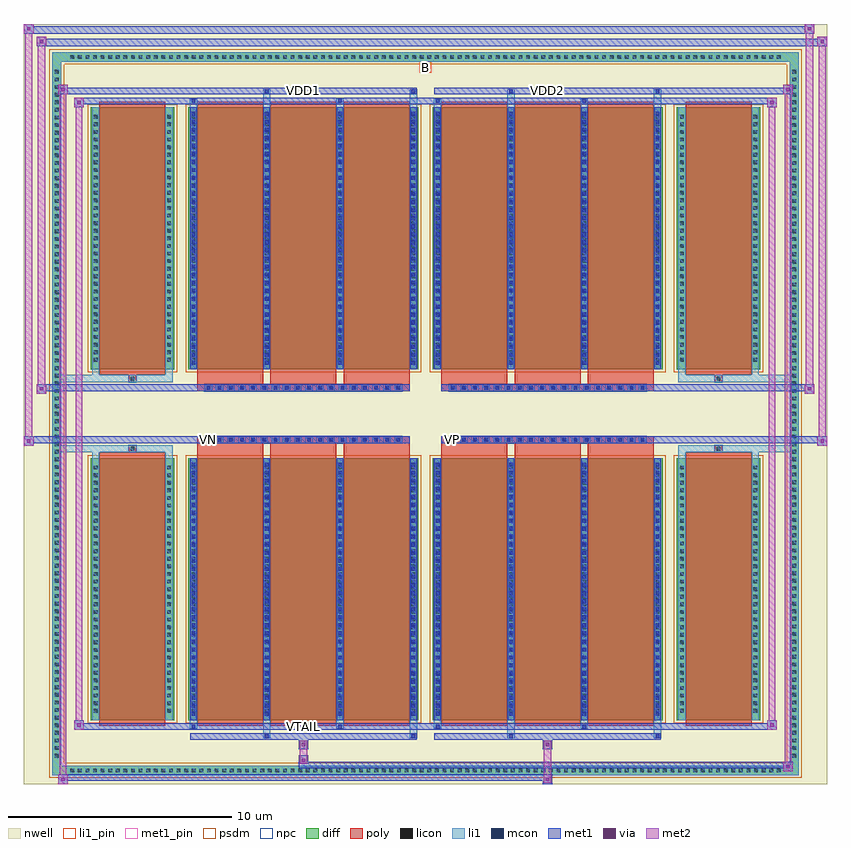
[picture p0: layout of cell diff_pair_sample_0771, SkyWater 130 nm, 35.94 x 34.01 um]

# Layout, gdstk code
import gdstk
lib = gdstk.Library(unit=1e-6, precision=5e-09)
def R(c, l, rs):  # rectangles x0, y0, x1, y1
    for r in rs: c.add(gdstk.rectangle(r[:2], r[2:], *l))
def A(c, l, x, y, w, h, nx, ny, dx, dy):  # array of equal rectangles
    R(c, l, [(x+i*dx, y+j*dy, x+i*dx+w, y+j*dy+h) for i in range(nx) for j in range(ny)])
def P(c, l, *ps):  # polygons
    for p in ps: c.add(gdstk.Polygon(p, *l))
nwell = (64, 20)
diff = (65, 20)
poly = (66, 20)
licon = (66, 44)
li1_pin = (67, 16)
li1 = (67, 20)
mcon = (67, 44)
met1_pin = (68, 16)
met1 = (68, 20)
via = (68, 44)
met2 = (69, 20)
psdm = (94, 20)
npc = (95, 20)

diff_pair_sample_0771 = lib.new_cell('diff_pair_sample_0771')
R(diff_pair_sample_0771, nwell, [(-17.97,-16.57,17.97,17.44), (-15.29,-14.76,-0.01,-0.8), (0.01,-14.76,15.29,-0.8), (-15.29,0.8,-0.01,14.76), (0.01,0.8,15.29,14.76)])
A(diff_pair_sample_0771, diff, -16.015, -16.17, 0.41, 0.41, 94, 2, 0.34, 31.93)
A(diff_pair_sample_0771, diff, -16.7, -15.505, 0.41, 0.41, 1, 91, 0, 0.34)
A(diff_pair_sample_0771, diff, 16.29, -15.505, 0.41, 0.41, 1, 91, 0, 0.34)
R(diff_pair_sample_0771, diff, [(-16.015,-16.17,16.015,-15.76), (-16.7,-15.505,-16.29,15.505), (16.29,-15.505,16.7,15.505), (-14.98,-13.715,-11.25,-1.985), (-10.61,-13.715,-0.32,-1.985), (0.32,-13.715,10.61,-1.985), (11.25,-13.715,14.98,-1.985), (-14.98,1.985,-11.25,13.715), (-10.61,1.985,-0.32,13.715), (0.32,1.985,10.61,13.715), (11.25,1.985,14.98,13.715), (-16.015,15.76,16.015,16.17)])
P(diff_pair_sample_0771, diff, [(16.7,16.17),(-16.7,16.17),(-16.7,-15.76),(-16.29,-15.76),(-16.29,15.76),(16.29,15.76),(16.29,-15.76),(-16.29,-15.76),(-16.7,-15.76),(-16.7,-16.17),(16.7,-16.17)])
A(diff_pair_sample_0771, poly, -10.22, -13.965, 2.95, 12.23, 3, 2, 3.28, 15.7)
A(diff_pair_sample_0771, poly, 0.71, -13.965, 2.95, 12.23, 3, 2, 3.28, 15.7)
A(diff_pair_sample_0771, poly, -10.22, -1.735, 2.95, 0.405, 3, 2, 3.28, 3.065)
A(diff_pair_sample_0771, poly, 0.71, -1.735, 2.95, 0.405, 3, 2, 3.28, 3.065)
A(diff_pair_sample_0771, poly, -9.88, -1.33, 0.33, 0.33, 18, 2, 0.5, 2.33)
A(diff_pair_sample_0771, poly, 1.05, -1.33, 0.33, 0.33, 18, 2, 0.5, 2.33)
R(diff_pair_sample_0771, poly, [(-14.59,-13.965,-11.64,-1.735), (11.64,-13.965,14.59,-1.735), (-13.28,-1.735,-12.95,-1.405), (-13.28,-1.735,-12.95,-1.405), (12.95,-1.735,13.28,-1.405), (12.95,-1.735,13.28,-1.405), (-10.22,-1.33,-0.71,-1), (0.71,-1.33,10.22,-1), (-10.22,1,-0.71,1.33), (0.71,1,10.22,1.33), (-13.28,1.405,-12.95,1.735), (-13.28,1.405,-12.95,1.735), (12.95,1.405,13.28,1.735), (12.95,1.405,13.28,1.735), (-14.59,1.735,-11.64,13.965), (11.64,1.735,14.59,13.965)])
A(diff_pair_sample_0771, licon, -15.895, -16.05, 0.17, 0.17, 94, 2, 0.34, 31.93)
A(diff_pair_sample_0771, licon, -16.58, -15.385, 0.17, 0.17, 1, 91, 0, 0.34)
A(diff_pair_sample_0771, licon, 16.41, -15.385, 0.17, 0.17, 1, 91, 0, 0.34)
A(diff_pair_sample_0771, licon, -14.84, -13.375, 0.17, 0.17, 1, 33, 0, 0.34)
A(diff_pair_sample_0771, licon, -11.56, -13.375, 0.17, 0.17, 1, 33, 0, 0.34)
A(diff_pair_sample_0771, licon, -10.47, -13.375, 0.17, 0.17, 4, 33, 3.28, 0.34)
A(diff_pair_sample_0771, licon, 0.46, -13.375, 0.17, 0.17, 4, 33, 3.28, 0.34)
A(diff_pair_sample_0771, licon, 11.39, -13.375, 0.17, 0.17, 1, 33, 0, 0.34)
A(diff_pair_sample_0771, licon, 14.67, -13.375, 0.17, 0.17, 1, 33, 0, 0.34)
A(diff_pair_sample_0771, licon, -9.8, -1.25, 0.17, 0.17, 18, 2, 0.5, 2.33)
A(diff_pair_sample_0771, licon, 1.13, -1.25, 0.17, 0.17, 18, 2, 0.5, 2.33)
A(diff_pair_sample_0771, licon, -14.84, 2.325, 0.17, 0.17, 1, 33, 0, 0.34)
A(diff_pair_sample_0771, licon, -11.56, 2.325, 0.17, 0.17, 1, 33, 0, 0.34)
A(diff_pair_sample_0771, licon, -10.47, 2.325, 0.17, 0.17, 4, 33, 3.28, 0.34)
A(diff_pair_sample_0771, licon, 0.46, 2.325, 0.17, 0.17, 4, 33, 3.28, 0.34)
A(diff_pair_sample_0771, licon, 11.39, 2.325, 0.17, 0.17, 1, 33, 0, 0.34)
A(diff_pair_sample_0771, licon, 14.67, 2.325, 0.17, 0.17, 1, 33, 0, 0.34)
R(diff_pair_sample_0771, licon, [(-13.2,-1.655,-13.03,-1.485), (13.03,-1.655,13.2,-1.485), (-13.2,1.485,-13.03,1.655), (13.03,1.485,13.2,1.655)])
R(diff_pair_sample_0771, li1_pin, [(-0.25,15.26,0.25,15.76)])
A(diff_pair_sample_0771, li1, -15.975, -16.13, 0.33, 0.33, 94, 2, 0.34, 31.93)
A(diff_pair_sample_0771, li1, -16.66, -15.465, 0.33, 0.33, 1, 91, 0, 0.34)
A(diff_pair_sample_0771, li1, 16.33, -15.465, 0.33, 0.33, 1, 91, 0, 0.34)
A(diff_pair_sample_0771, li1, -10.55, -13.715, 0.33, 11.73, 4, 2, 3.28, 15.7)
A(diff_pair_sample_0771, li1, 0.38, -13.715, 0.33, 11.73, 4, 2, 3.28, 15.7)
A(diff_pair_sample_0771, li1, -10.47, -13.515, 0.17, 0.17, 4, 32, 3.28, 0.36)
A(diff_pair_sample_0771, li1, -10.47, -13.515, 0.17, 11.33, 4, 2, 3.28, 15.7)
A(diff_pair_sample_0771, li1, 0.46, -13.515, 0.17, 0.17, 4, 32, 3.28, 0.36)
A(diff_pair_sample_0771, li1, 0.46, -13.515, 0.17, 11.33, 4, 2, 3.28, 15.7)
A(diff_pair_sample_0771, li1, -14.92, -13.455, 0.33, 0.33, 1, 33, 0, 0.34)
A(diff_pair_sample_0771, li1, -11.64, -13.455, 0.33, 0.33, 1, 33, 0, 0.34)
A(diff_pair_sample_0771, li1, -10.55, -13.455, 0.33, 0.33, 4, 33, 3.28, 0.34)
A(diff_pair_sample_0771, li1, 0.38, -13.455, 0.33, 0.33, 4, 33, 3.28, 0.34)
A(diff_pair_sample_0771, li1, 11.31, -13.455, 0.33, 0.33, 1, 33, 0, 0.34)
A(diff_pair_sample_0771, li1, 14.59, -13.455, 0.33, 0.33, 1, 33, 0, 0.34)
A(diff_pair_sample_0771, li1, -9.88, -1.33, 0.33, 0.33, 18, 2, 0.5, 2.33)
A(diff_pair_sample_0771, li1, 1.05, -1.33, 0.33, 0.33, 18, 2, 0.5, 2.33)
A(diff_pair_sample_0771, li1, -10.47, 2.185, 0.17, 0.17, 4, 32, 3.28, 0.36)
A(diff_pair_sample_0771, li1, 0.46, 2.185, 0.17, 0.17, 4, 32, 3.28, 0.36)
A(diff_pair_sample_0771, li1, -14.92, 2.245, 0.33, 0.33, 1, 33, 0, 0.34)
A(diff_pair_sample_0771, li1, -11.64, 2.245, 0.33, 0.33, 1, 33, 0, 0.34)
A(diff_pair_sample_0771, li1, -10.55, 2.245, 0.33, 0.33, 4, 33, 3.28, 0.34)
A(diff_pair_sample_0771, li1, 0.38, 2.245, 0.33, 0.33, 4, 33, 3.28, 0.34)
A(diff_pair_sample_0771, li1, 11.31, 2.245, 0.33, 0.33, 1, 33, 0, 0.34)
A(diff_pair_sample_0771, li1, 14.59, 2.245, 0.33, 0.33, 1, 33, 0, 0.34)
R(diff_pair_sample_0771, li1, [(-16.7,-16.17,-16.29,-15.76), (-16.7,-16.17,-16.29,-15.76), (-16.29,-16.17,16.29,-15.76), (16.29,-16.17,16.7,-15.76), (16.29,-16.17,16.7,-15.76), (-16.7,-15.76,-16.29,15.76), (16.29,-15.76,16.7,15.76), (-7.27,-14.52,-6.94,-13.715), (-7.19,-14.52,-7.02,-14.35), (-0.71,-14.52,-0.38,-13.715), (-0.63,-14.52,-0.46,-14.35), (3.66,-14.52,3.99,-13.715), (3.74,-14.52,3.91,-14.35), (10.22,-14.52,10.55,-13.715), (10.3,-14.52,10.47,-14.35), (-10.55,-14.09,-10.22,-13.715), (-10.47,-14.09,-10.3,-13.92), (-3.99,-14.09,-3.66,-13.715), (-3.91,-14.09,-3.74,-13.92), (0.38,-14.09,0.71,-13.715), (0.46,-14.09,0.63,-13.92), (6.94,-14.09,7.27,-13.715), (7.02,-14.09,7.19,-13.92), (-14.92,-13.715,-14.59,-1.985), (-11.64,-13.715,-11.31,-1.985), (11.31,-13.715,11.64,-1.985), (14.59,-13.715,14.92,-1.985), (-14.92,-1.985,-14.59,-1.405), (-11.64,-1.985,-11.31,-1.405), (11.31,-1.985,11.64,-1.405), (14.59,-1.985,14.92,-1.405), (-16.7,-1.735,-13.28,-1.405), (-14.92,-1.735,-13.28,-1.405), (-13.28,-1.735,-12.95,-1.405), (-12.95,-1.735,-11.31,-1.405), (11.31,-1.735,12.95,-1.405), (12.95,-1.735,13.28,-1.405), (12.95,-1.735,16.7,-1.405), (13.28,-1.735,14.92,-1.405), (-16.7,1.405,-13.28,1.735), (-14.92,1.405,-13.28,1.735), (-14.92,1.405,-14.59,1.985), (-13.28,1.405,-12.95,1.735), (-12.95,1.405,-11.31,1.735), (-11.64,1.405,-11.31,1.985), (11.31,1.405,12.95,1.735), (11.31,1.405,11.64,1.985), (12.95,1.405,13.28,1.735), (12.95,1.405,16.7,1.735), (13.28,1.405,14.92,1.735), (14.59,1.405,14.92,1.985), (-14.92,1.985,-14.59,13.715), (-11.64,1.985,-11.31,13.715), (11.31,1.985,11.64,13.715), (14.59,1.985,14.92,13.715), (-10.55,13.715,-10.22,14.09), (-7.27,13.715,-6.94,14.52), (-3.99,13.715,-3.66,14.09), (-0.71,13.715,-0.38,14.52), (0.38,13.715,0.71,14.09), (3.66,13.715,3.99,14.52), (6.94,13.715,7.27,14.09), (10.22,13.715,10.55,14.52), (-10.47,13.92,-10.3,14.09), (-3.91,13.92,-3.74,14.09), (0.46,13.92,0.63,14.09), (7.02,13.92,7.19,14.09), (-7.19,14.35,-7.02,14.52), (-0.63,14.35,-0.46,14.52), (3.74,14.35,3.91,14.52), (10.3,14.35,10.47,14.52), (-16.7,15.76,-16.29,16.17), (-16.7,15.76,-16.29,16.17), (-16.29,15.76,16.29,16.17), (16.29,15.76,16.7,16.17), (16.29,15.76,16.7,16.17)])
A(diff_pair_sample_0771, mcon, -10.47, -13.515, 0.17, 0.17, 4, 32, 3.28, 0.36)
A(diff_pair_sample_0771, mcon, 0.46, -13.515, 0.17, 0.17, 4, 32, 3.28, 0.36)
A(diff_pair_sample_0771, mcon, -9.8, -1.25, 0.17, 0.17, 18, 2, 0.5, 2.33)
A(diff_pair_sample_0771, mcon, 1.13, -1.25, 0.17, 0.17, 18, 2, 0.5, 2.33)
A(diff_pair_sample_0771, mcon, -10.47, 2.185, 0.17, 0.17, 4, 32, 3.28, 0.36)
A(diff_pair_sample_0771, mcon, 0.46, 2.185, 0.17, 0.17, 4, 32, 3.28, 0.36)
R(diff_pair_sample_0771, mcon, [(-7.19,-14.52,-7.02,-14.35), (-0.63,-14.52,-0.46,-14.35), (3.74,-14.52,3.91,-14.35), (10.3,-14.52,10.47,-14.35), (-10.47,-14.09,-10.3,-13.92), (-3.91,-14.09,-3.74,-13.92), (0.46,-14.09,0.63,-13.92), (7.02,-14.09,7.19,-13.92), (-10.47,13.92,-10.3,14.09), (-3.91,13.92,-3.74,14.09), (0.46,13.92,0.63,14.09), (7.02,13.92,7.19,14.09), (-7.19,14.35,-7.02,14.52), (-0.63,14.35,-0.46,14.52), (3.74,14.35,3.91,14.52), (10.3,14.35,10.47,14.52)])
R(diff_pair_sample_0771, met1_pin, [(-5.6,-14.13,-5.33,-13.86), (-9.85,-1.29,-9.58,-1.02), (1.08,-1.29,1.35,-1.02), (-5.6,14.31,-5.33,14.58), (5.33,14.31,5.6,14.58)])
A(diff_pair_sample_0771, met1, -10.53, -13.715, 0.29, 11.73, 4, 2, 3.28, 15.7)
A(diff_pair_sample_0771, met1, 0.4, -13.715, 0.29, 11.73, 4, 2, 3.28, 15.7)
A(diff_pair_sample_0771, met1, -10.53, -13.575, 0.29, 0.29, 4, 32, 3.28, 0.36)
A(diff_pair_sample_0771, met1, 0.4, -13.575, 0.29, 0.29, 4, 32, 3.28, 0.36)
A(diff_pair_sample_0771, met1, -9.86, -1.31, 0.29, 0.29, 18, 2, 0.5, 2.33)
A(diff_pair_sample_0771, met1, 1.07, -1.31, 0.29, 0.29, 18, 2, 0.5, 2.33)
A(diff_pair_sample_0771, met1, -10.53, 2.125, 0.29, 0.29, 4, 32, 3.28, 0.36)
A(diff_pair_sample_0771, met1, 0.4, 2.125, 0.29, 0.29, 4, 32, 3.28, 0.36)
R(diff_pair_sample_0771, met1, [(-16.43,-16.57,-16,-16.14), (5.25,-16.57,5.68,-16.14), (-16.43,-16.43,5.68,-16.14), (16,-16,16.43,-15.57), (-5.68,-15.86,16.43,-15.57), (-5.68,-15.72,-5.25,-15.29), (-5.68,-15.01,-5.25,-14.58), (5.25,-15.01,5.68,-14.58), (-10.53,-14.58,-0.4,-14.29), (-7.25,-14.58,-6.96,-14.29), (-0.69,-14.58,-0.4,-14.29), (0.4,-14.58,10.53,-14.29), (3.68,-14.58,3.97,-14.29), (10.24,-14.58,10.53,-14.29), (-15.72,-14.15,-15.29,-13.72), (-15.72,-14.15,-10.53,-13.86), (-10.53,-14.15,-10.24,-13.86), (-10.53,-14.15,-0.4,-13.86), (-3.97,-14.15,-3.68,-13.86), (-0.4,-14.15,0.4,-13.86), (0.4,-14.15,0.69,-13.86), (0.4,-14.15,10.53,-13.86), (6.96,-14.15,7.25,-13.86), (10.53,-14.15,15.72,-13.86), (15.29,-14.15,15.72,-13.72), (-17.97,-1.43,-17.54,-1), (17.54,-1.43,17.97,-1), (-17.97,-1.33,-0.71,-1), (-10.22,-1.33,-0.71,-1), (0.71,-1.33,10.22,-1), (0.71,-1.33,17.97,-1), (-17.4,0.9,-16.97,1.33), (16.97,0.9,17.4,1.33), (-17.4,1,-10.22,1.33), (-10.22,1,-0.71,1.33), (0.71,1,10.22,1.33), (10.22,1,17.4,1.33), (-15.72,13.72,-15.29,14.15), (15.29,13.72,15.72,14.15), (-15.72,13.86,-10.53,14.15), (-10.53,13.86,-10.24,14.15), (-10.53,13.86,-0.4,14.15), (-3.97,13.86,-3.68,14.15), (-0.4,13.86,0.4,14.15), (0.4,13.86,0.69,14.15), (0.4,13.86,10.53,14.15), (6.96,13.86,7.25,14.15), (10.53,13.86,15.72,14.15), (-16.43,14.29,-16,14.72), (-16.43,14.29,-10.53,14.58), (-10.53,14.29,-0.4,14.58), (-7.25,14.29,-6.96,14.58), (-0.69,14.29,-0.4,14.58), (0.4,14.29,10.53,14.58), (3.68,14.29,3.97,14.58), (10.24,14.29,10.53,14.58), (10.53,14.29,16.43,14.58), (16,14.29,16.43,14.72), (-17.4,16.44,-16.97,16.87), (-17.4,16.44,-15.29,16.77), (-15.29,16.44,15.29,16.77), (15.29,16.44,17.97,16.77), (17.54,16.44,17.97,16.87), (-17.97,17.01,-17.54,17.44), (-17.97,17.01,-15.29,17.34), (-15.29,17.01,15.29,17.34), (15.29,17.01,17.4,17.34), (16.97,17.01,17.4,17.44)])
R(diff_pair_sample_0771, via, [(-16.29,-16.43,-16.14,-16.28), (5.39,-16.43,5.54,-16.28), (16.14,-15.86,16.29,-15.71), (-5.54,-15.58,-5.39,-15.43), (-5.54,-14.87,-5.39,-14.72), (5.39,-14.87,5.54,-14.72), (-15.58,-14.01,-15.43,-13.86), (15.43,-14.01,15.58,-13.86), (-17.83,-1.29,-17.68,-1.14), (17.68,-1.29,17.83,-1.14), (-17.26,1.04,-17.11,1.19), (17.11,1.04,17.26,1.19), (-15.58,13.86,-15.43,14.01), (15.43,13.86,15.58,14.01), (-16.29,14.43,-16.14,14.58), (16.14,14.43,16.29,14.58), (-17.26,16.58,-17.11,16.73), (17.68,16.58,17.83,16.73), (-17.83,17.15,-17.68,17.3), (17.11,17.15,17.26,17.3)])
R(diff_pair_sample_0771, met2, [(-16.43,-16.57,-16,-16.14), (-16.36,-16.57,-16.07,14.72), (-16.07,-16.57,-16,-16.14), (-16.38,-16.52,-16.05,-16.19), (5.3,-16.52,5.63,-16.19), (5.3,-16.19,5.63,-14.96), (16,-16,16.43,-15.57), (16.07,-16,16.36,14.72), (16.36,-16,16.43,-15.57), (16.05,-15.95,16.38,-15.62), (-5.63,-15.67,-5.3,-15.34), (-5.63,-15.34,-5.3,-14.96), (-5.63,-14.96,-5.3,-14.63), (5.3,-14.96,5.63,-14.63), (-15.72,-14.15,-15.29,-13.72), (-15.65,-14.15,-15.36,14.15), (-15.36,-14.15,-15.29,-13.72), (15.29,-14.15,15.72,-13.72), (15.36,-14.15,15.65,14.15), (15.65,-14.15,15.72,-13.72), (-15.67,-14.1,-15.34,-13.77), (15.34,-14.1,15.67,-13.77), (-17.97,-1.43,-17.54,-1), (-17.92,-1.43,-17.59,17.44), (-17.59,-1.43,-17.54,-1), (17.54,-1.43,17.97,-1), (17.59,-1.43,17.92,16.87), (17.92,-1.43,17.97,-1), (-17.92,-1.38,-17.59,-1.05), (17.59,-1.38,17.92,-1.05), (-17.4,0.9,-16.97,1.33), (-17.35,0.9,-17.02,16.87), (-17.02,0.9,-16.97,1.33), (16.97,0.9,17.4,1.33), (17.02,0.9,17.35,17.44), (17.35,0.9,17.4,1.33), (-17.35,0.95,-17.02,1.28), (17.02,0.95,17.35,1.28), (-15.72,13.72,-15.29,14.15), (-15.36,13.72,-15.29,14.15), (15.29,13.72,15.72,14.15), (15.65,13.72,15.72,14.15), (-15.67,13.77,-15.34,14.1), (15.34,13.77,15.67,14.1), (-16.43,14.29,-16,14.72), (-16.07,14.29,-16,14.72), (16,14.29,16.43,14.72), (16.36,14.29,16.43,14.72), (-16.38,14.34,-16.05,14.67), (16.05,14.34,16.38,14.67), (-17.4,16.44,-16.97,16.87), (-17.02,16.44,-16.97,16.87), (17.54,16.44,17.97,16.87), (17.92,16.44,17.97,16.87), (-17.35,16.49,-17.02,16.82), (17.59,16.49,17.92,16.82), (-17.97,17.01,-17.54,17.44), (-17.59,17.01,-17.54,17.44), (16.97,17.01,17.4,17.44), (17.35,17.01,17.4,17.44), (-17.92,17.06,-17.59,17.39), (17.02,17.06,17.35,17.39)])
R(diff_pair_sample_0771, psdm, [(-15.11,-13.845,-11.12,-1.855), (-10.74,-13.845,-0.19,-1.855), (0.19,-13.845,10.74,-1.855), (11.12,-13.845,15.11,-1.855), (-15.11,1.855,-11.12,13.845), (-10.74,1.855,-0.19,13.845), (0.19,1.855,10.74,13.845), (11.12,1.855,15.11,13.845)])
P(diff_pair_sample_0771, psdm, [(16.83,16.3),(-16.83,16.3),(-16.83,-15.63),(-16.16,-15.63),(-16.16,15.63),(16.16,15.63),(16.16,-15.63),(-16.16,-15.63),(-16.83,-15.63),(-16.83,-16.3),(16.83,-16.3)])
A(diff_pair_sample_0771, npc, -9.9, -1.35, 0.37, 0.37, 18, 2, 0.5, 2.33)
A(diff_pair_sample_0771, npc, 1.03, -1.35, 0.37, 0.37, 18, 2, 0.5, 2.33)
R(diff_pair_sample_0771, npc, [(-13.3,-1.755,-12.93,-1.385), (12.93,-1.755,13.3,-1.385), (-9.9,-1.35,-9.03,-0.98), (-9.9,-1.35,-9.03,-0.98), (-9.4,-1.35,-8.53,-0.98), (-9.4,-1.35,-8.53,-0.98), (-8.9,-1.35,-8.03,-0.98), (-8.9,-1.35,-8.03,-0.98), (-8.4,-1.35,-7.53,-0.98), (-8.4,-1.35,-7.53,-0.98), (-7.9,-1.35,-7.03,-0.98), (-7.9,-1.35,-7.03,-0.98), (-7.4,-1.35,-6.53,-0.98), (-7.4,-1.35,-6.53,-0.98), (-6.9,-1.35,-6.03,-0.98), (-6.9,-1.35,-6.03,-0.98), (-6.4,-1.35,-5.53,-0.98), (-6.4,-1.35,-5.53,-0.98), (-5.9,-1.35,-5.03,-0.98), (-5.9,-1.35,-5.03,-0.98), (-5.4,-1.35,-4.53,-0.98), (-5.4,-1.35,-4.53,-0.98), (-4.9,-1.35,-4.03,-0.98), (-4.9,-1.35,-4.03,-0.98), (-4.4,-1.35,-3.53,-0.98), (-4.4,-1.35,-3.53,-0.98), (-3.9,-1.35,-3.03,-0.98), (-3.9,-1.35,-3.03,-0.98), (-3.4,-1.35,-2.53,-0.98), (-3.4,-1.35,-2.53,-0.98), (-2.9,-1.35,-2.03,-0.98), (-2.9,-1.35,-2.03,-0.98), (-2.4,-1.35,-1.53,-0.98), (-2.4,-1.35,-1.53,-0.98), (-1.9,-1.35,-1.03,-0.98), (-1.9,-1.35,-1.03,-0.98), (1.03,-1.35,1.9,-0.98), (1.03,-1.35,1.9,-0.98), (1.53,-1.35,2.4,-0.98), (1.53,-1.35,2.4,-0.98), (2.03,-1.35,2.9,-0.98), (2.03,-1.35,2.9,-0.98), (2.53,-1.35,3.4,-0.98), (2.53,-1.35,3.4,-0.98), (3.03,-1.35,3.9,-0.98), (3.03,-1.35,3.9,-0.98), (3.53,-1.35,4.4,-0.98), (3.53,-1.35,4.4,-0.98), (4.03,-1.35,4.9,-0.98), (4.03,-1.35,4.9,-0.98), (4.53,-1.35,5.4,-0.98), (4.53,-1.35,5.4,-0.98), (5.03,-1.35,5.9,-0.98), (5.03,-1.35,5.9,-0.98), (5.53,-1.35,6.4,-0.98), (5.53,-1.35,6.4,-0.98), (6.03,-1.35,6.9,-0.98), (6.03,-1.35,6.9,-0.98), (6.53,-1.35,7.4,-0.98), (6.53,-1.35,7.4,-0.98), (7.03,-1.35,7.9,-0.98), (7.03,-1.35,7.9,-0.98), (7.53,-1.35,8.4,-0.98), (7.53,-1.35,8.4,-0.98), (8.03,-1.35,8.9,-0.98), (8.03,-1.35,8.9,-0.98), (8.53,-1.35,9.4,-0.98), (8.53,-1.35,9.4,-0.98), (9.03,-1.35,9.9,-0.98), (9.03,-1.35,9.9,-0.98), (-9.9,0.98,-9.03,1.35), (-9.9,0.98,-9.03,1.35), (-9.4,0.98,-8.53,1.35), (-9.4,0.98,-8.53,1.35), (-8.9,0.98,-8.03,1.35), (-8.9,0.98,-8.03,1.35), (-8.4,0.98,-7.53,1.35), (-8.4,0.98,-7.53,1.35), (-7.9,0.98,-7.03,1.35), (-7.9,0.98,-7.03,1.35), (-7.4,0.98,-6.53,1.35), (-7.4,0.98,-6.53,1.35), (-6.9,0.98,-6.03,1.35), (-6.9,0.98,-6.03,1.35), (-6.4,0.98,-5.53,1.35), (-6.4,0.98,-5.53,1.35), (-5.9,0.98,-5.03,1.35), (-5.9,0.98,-5.03,1.35), (-5.4,0.98,-4.53,1.35), (-5.4,0.98,-4.53,1.35), (-4.9,0.98,-4.03,1.35), (-4.9,0.98,-4.03,1.35), (-4.4,0.98,-3.53,1.35), (-4.4,0.98,-3.53,1.35), (-3.9,0.98,-3.03,1.35), (-3.9,0.98,-3.03,1.35), (-3.4,0.98,-2.53,1.35), (-3.4,0.98,-2.53,1.35), (-2.9,0.98,-2.03,1.35), (-2.9,0.98,-2.03,1.35), (-2.4,0.98,-1.53,1.35), (-2.4,0.98,-1.53,1.35), (-1.9,0.98,-1.03,1.35), (-1.9,0.98,-1.03,1.35), (1.03,0.98,1.9,1.35), (1.03,0.98,1.9,1.35), (1.53,0.98,2.4,1.35), (1.53,0.98,2.4,1.35), (2.03,0.98,2.9,1.35), (2.03,0.98,2.9,1.35), (2.53,0.98,3.4,1.35), (2.53,0.98,3.4,1.35), (3.03,0.98,3.9,1.35), (3.03,0.98,3.9,1.35), (3.53,0.98,4.4,1.35), (3.53,0.98,4.4,1.35), (4.03,0.98,4.9,1.35), (4.03,0.98,4.9,1.35), (4.53,0.98,5.4,1.35), (4.53,0.98,5.4,1.35), (5.03,0.98,5.9,1.35), (5.03,0.98,5.9,1.35), (5.53,0.98,6.4,1.35), (5.53,0.98,6.4,1.35), (6.03,0.98,6.9,1.35), (6.03,0.98,6.9,1.35), (6.53,0.98,7.4,1.35), (6.53,0.98,7.4,1.35), (7.03,0.98,7.9,1.35), (7.03,0.98,7.9,1.35), (7.53,0.98,8.4,1.35), (7.53,0.98,8.4,1.35), (8.03,0.98,8.9,1.35), (8.03,0.98,8.9,1.35), (8.53,0.98,9.4,1.35), (8.53,0.98,9.4,1.35), (9.03,0.98,9.9,1.35), (9.03,0.98,9.9,1.35), (-13.3,1.385,-12.93,1.755), (12.93,1.385,13.3,1.755)])
diff_pair_sample_0771.add(gdstk.Label('VTAIL', (-5.465,-13.995), layer=68, texttype=5))
diff_pair_sample_0771.add(gdstk.Label('VN', (-9.715,-1.155), layer=68, texttype=5))
diff_pair_sample_0771.add(gdstk.Label('VP', (1.215,-1.155), layer=68, texttype=5))
diff_pair_sample_0771.add(gdstk.Label('B', (0,15.51), layer=67, texttype=5))
diff_pair_sample_0771.add(gdstk.Label('VDD2', (5.465,14.445), layer=68, texttype=5))
diff_pair_sample_0771.add(gdstk.Label('VDD1', (-5.465,14.445), layer=68, texttype=5))

lib.write_gds('diff_pair_sample_0771.gds')
